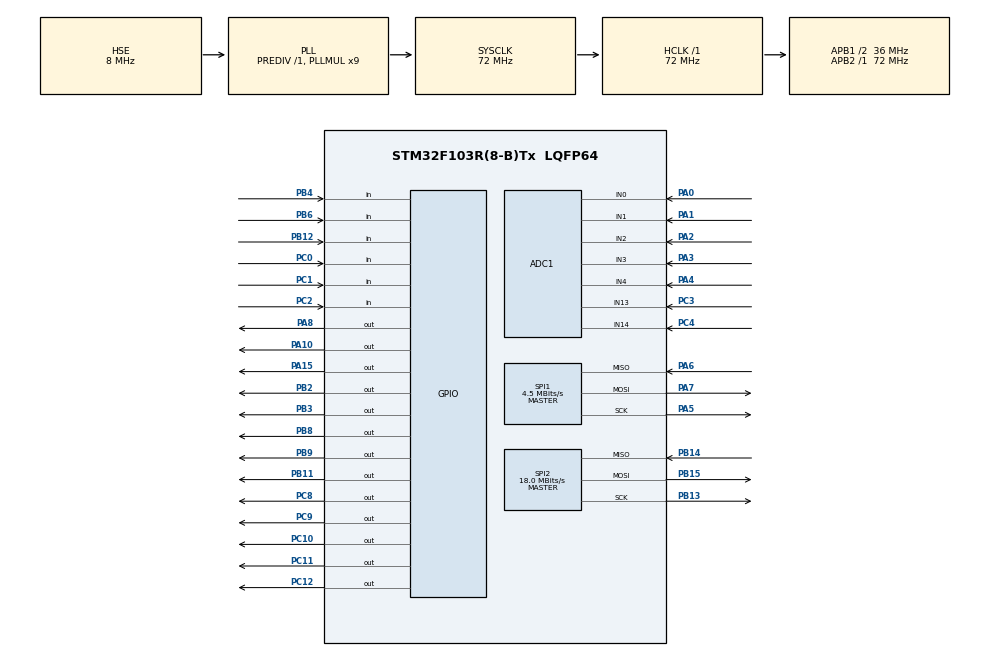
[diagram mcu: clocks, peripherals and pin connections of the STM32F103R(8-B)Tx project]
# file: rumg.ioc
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ADC1.ContinuousConvMode=DISABLE
ADC1.EnableRegularConversion=DISABLE
ADC1.master=1
FREERTOS.Queues01=myQueueTouch,16,uint16_t,0,Dynamic,NULL,NULL
FREERTOS.Tasks01=defaultTask,0,128,StartDefaultTask,Default,NULL,Dynamic,NULL,NULL;myTaskADC,-3,128,StartTaskADC,Default,NULL,Dynamic,NULL,NULL;myTaskLogic,-3,128,StartTaskLogic,Default,NULL,Dynamic,NULL,NULL;myTaskDisplay,-3,512,StartTaskDisplay,Default,NULL,Dynamic,NULL,NULL
FREERTOS.configTOTAL_HEAP_SIZE=6000
Mcu.Family=STM32F1
Mcu.Name=STM32F103R(8-B)Tx
Mcu.Package=LQFP64
NVIC.PriorityGroup=NVIC_PRIORITYGROUP_4
NVIC.TIM1_UP_IRQn=true\:0\:0\:false\:false\:true\:false\:false\:true
NVIC.TIM3_IRQn=true\:0\:0\:false\:false\:true\:false\:true\:true
NVIC.TimeBase=TIM1_UP_IRQn
NVIC.TimeBaseIP=TIM1
PA0-WKUP.Signal=SharedAnalog_PA0
PA1.Signal=SharedAnalog_PA1
PA10.GPIO_Speed=GPIO_SPEED_FREQ_HIGH
PA10.Signal=GPIO_Output
PA13.Mode=Serial_Wire
PA13.Signal=SYS_JTMS-SWDIO
PA14.Mode=Serial_Wire
PA14.Signal=SYS_JTCK-SWCLK
PA15.GPIO_Speed=GPIO_SPEED_FREQ_HIGH
PA15.Signal=GPIO_Output
PA2.Signal=SharedAnalog_PA2
PA3.Signal=SharedAnalog_PA3
PA4.Signal=SharedAnalog_PA4
PA5.Mode=Full_Duplex_Master
PA5.Signal=SPI1_SCK
PA6.Mode=Full_Duplex_Master
PA6.Signal=SPI1_MISO
PA7.Mode=Full_Duplex_Master
PA7.Signal=SPI1_MOSI
PA8.GPIO_Speed=GPIO_SPEED_FREQ_HIGH
PA8.Signal=GPIO_Output
PB11.GPIO_Speed=GPIO_SPEED_FREQ_HIGH
PB11.PinState=GPIO_PIN_SET
PB11.Signal=GPIO_Output
PB12.Signal=GPIO_Input
PB13.Mode=Full_Duplex_Master
PB13.Signal=SPI2_SCK
PB14.Mode=Full_Duplex_Master
PB14.Signal=SPI2_MISO
PB15.Mode=Full_Duplex_Master
PB15.Signal=SPI2_MOSI
PB2.GPIO_Speed=GPIO_SPEED_FREQ_HIGH
PB2.Signal=GPIO_Output
PB3.GPIO_Speed=GPIO_SPEED_FREQ_HIGH
PB3.Signal=GPIO_Output
PB4.Signal=GPIO_Input
PB6.Signal=GPIO_Input
PB8.GPIO_Speed=GPIO_SPEED_FREQ_HIGH
PB8.PinState=GPIO_PIN_SET
PB8.Signal=GPIO_Output
PB9.GPIO_Speed=GPIO_SPEED_FREQ_HIGH
PB9.Signal=GPIO_Output
PC0.Signal=GPIO_Input
PC1.Signal=GPIO_Input
PC10.GPIO_Speed=GPIO_SPEED_FREQ_HIGH
PC10.PinState=GPIO_PIN_RESET
PC10.Signal=GPIO_Output
PC11.Signal=GPIO_Output
PC12.Signal=GPIO_Output
PC2.Signal=GPIO_Input
PC3.Signal=SharedAnalog_PC3
PC4.Signal=SharedAnalog_PC4
PC8.GPIO_Speed=GPIO_SPEED_FREQ_HIGH
PC8.PinState=GPIO_PIN_RESET
PC8.Signal=GPIO_Output
PC9.GPIO_Speed=GPIO_SPEED_FREQ_HIGH
PC9.PinState=GPIO_PIN_RESET
PC9.Signal=GPIO_Output
PD0-OSC_IN.Mode=HSE-External-Oscillator
PD0-OSC_IN.Signal=RCC_OSC_IN
PD1-OSC_OUT.Mode=HSE-External-Oscillator
PD1-OSC_OUT.Signal=RCC_OSC_OUT
ProjectManager.HeapSize=0x200
ProjectManager.StackSize=0x400
ProjectManager.TargetToolchain=MDK-ARM V5.27
RCC.ADCPresc=RCC_ADCPCLK2_DIV6
RCC.AHBFreq_Value=72000000
RCC.APB1CLKDivider=RCC_HCLK_DIV2
RCC.APB1Freq_Value=36000000
RCC.APB1TimFreq_Value=72000000
RCC.APB2Freq_Value=72000000
RCC.APB2TimFreq_Value=72000000
RCC.HCLKFreq_Value=72000000
RCC.PLLMUL=RCC_PLL_MUL9
RCC.PLLSourceVirtual=RCC_PLLSOURCE_HSE
RCC.SYSCLKFreq_VALUE=72000000
RCC.SYSCLKSource=RCC_SYSCLKSOURCE_PLLCLK
RCC.USBFreq_Value=72000000
SH.SharedAnalog_PA0.0=GPIO_Analog
SH.SharedAnalog_PA0.1=ADC1_IN0,IN0
SH.SharedAnalog_PA1.0=GPIO_Analog
SH.SharedAnalog_PA1.1=ADC1_IN1,IN1
SH.SharedAnalog_PA2.0=GPIO_Analog
SH.SharedAnalog_PA2.1=ADC1_IN2,IN2
SH.SharedAnalog_PA3.0=GPIO_Analog
SH.SharedAnalog_PA3.1=ADC1_IN3,IN3
SH.SharedAnalog_PA4.0=GPIO_Analog
SH.SharedAnalog_PA4.1=ADC1_IN4,IN4
SH.SharedAnalog_PC3.0=GPIO_Analog
SH.SharedAnalog_PC3.1=ADC1_IN13,IN13
SH.SharedAnalog_PC4.0=GPIO_Analog
SH.SharedAnalog_PC4.1=ADC1_IN14,IN14
SPI1.BaudRatePrescaler=SPI_BAUDRATEPRESCALER_16
SPI1.CLKPhase=SPI_PHASE_1EDGE
SPI1.CLKPolarity=SPI_POLARITY_LOW
SPI1.CalculateBaudRate=4.5 MBits/s
SPI1.Direction=SPI_DIRECTION_2LINES
SPI1.Mode=SPI_MODE_MASTER
SPI1.VirtualType=VM_MASTER
SPI2.BaudRatePrescaler=SPI_BAUDRATEPRESCALER_2
SPI2.CLKPhase=SPI_PHASE_1EDGE
SPI2.CLKPolarity=SPI_POLARITY_LOW
SPI2.CalculateBaudRate=18.0 MBits/s
SPI2.Direction=SPI_DIRECTION_2LINES
SPI2.Mode=SPI_MODE_MASTER
SPI2.VirtualType=VM_MASTER
TIM3.AutoReloadPreload=TIM_AUTORELOAD_PRELOAD_ENABLE
TIM3.CounterMode=TIM_COUNTERMODE_DOWN
TIM3.Period=499
TIM3.Prescaler=15
VP_FREERTOS_VS_CMSIS_V1.Mode=CMSIS_V1
VP_SYS_VS_tim1.Mode=TIM1
VP_TIM3_VS_ClockSourceINT.Mode=Internal
board=custom

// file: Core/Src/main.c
/* USER CODE BEGIN Header */
/**
  ******************************************************************************
  * @file           : main.c
  * @brief          : Main program body
  ******************************************************************************
  * @attention
  *
  * <h2><center>&copy; Copyright (c) 2020 STMicroelectronics.
  * All rights reserved.</center></h2>
  *
  * This software component is licensed by ST under Ultimate Liberty license
  * SLA0044, the "License"; You may not use this file except in compliance with
  * the License. You may obtain a copy of the License at:
  *                             www.st.com/SLA0044
  *
  ******************************************************************************
  */
/* USER CODE END Header */
#include "main.h"
#include "cmsis_os.h"
#include <math.h>

ADC_HandleTypeDef hadc1;

SPI_HandleTypeDef hspi1;
SPI_HandleTypeDef hspi2;

TIM_HandleTypeDef htim3;

osThreadId defaultTaskHandle;
osThreadId myTaskADCHandle;
osThreadId myTaskLogicHandle;
osThreadId myTaskDisplayHandle;
osMessageQId myQueueTouchHandle;
/* USER CODE BEGIN PV */
osThreadId myTaskLoRaHandle;
osThreadId myTaskTCPIPHandle;
QueueHandle_t myQueueADCHandle;
QueueHandle_t myQueueLORAHandle;

uint32_t UserTimer;
uint8_t UserTimerFlag;
uint8_t OneSeconTick;
uint32_t EpochTime = EPOCH_TIME;

uint16_t rus_font_color = 0x0000;

uint8_t buzz_on;

uint8_t just_on_flag = 1;

SX1278_hw_t SX1278_hw;
SX1278_t SX1278;

TypeVolt PhValues_input;
TypeVolt PhValues_output;

extern struct TouchStructType T_struct;
extern TypeParameters DeviceParam;
extern ADC_ChannelConfTypeDef ADC_CONF;
extern int16_t FlowArray[F_ARR_SIZE];
extern uint16_t flow_prediction_arr[FLOW_30AVG];
extern uint8_t UI_item;
extern uint8_t redraw_all;

uint8_t SwitchGasRequest = 0;
uint8_t ManIsHere = 0;
uint8_t ActiveGasRequested = LEFT;

/* USER CODE END PV */

void SystemClock_Config(void);
static void MX_GPIO_Init(void);
static void MX_SPI1_Init(void);
static void MX_TIM3_Init(void);
static void MX_ADC1_Init(void);
static void MX_SPI2_Init(void);
void StartDefaultTask(void const * argument);
void StartTaskADC(void const * argument);
void StartTaskLogic(void const * argument);
void StartTaskDisplay(void const * argument);

/* USER CODE BEGIN PFP */
void StartTaskLoRa(void const * argument);
void StartTaskTCPIP(void const * argument);
void mainApp(void);
/* USER CODE END PFP */

int main(void)
{

  /* MCU Configuration--------------------------------------------------------*/

  /* Reset of all peripherals, Initializes the Flash interface and the Systick. */
  HAL_Init();

  /* Configure the system clock */
  SystemClock_Config();

  /* Initialize all configured peripherals */
  MX_GPIO_Init();
  MX_SPI1_Init();
  MX_TIM3_Init();
  MX_ADC1_Init();
  MX_SPI2_Init();
  /* USER CODE BEGIN 2 */
	__HAL_SPI_ENABLE(&hspi1);
	__HAL_SPI_ENABLE(&hspi2);

	HAL_TIM_Base_Start_IT(&htim3);
	HAL_ADC_Start (&hadc1);

	InitParam(&DeviceParam);

	ADC_CONF.Channel = ADC_Left_Press;
	ADC_CONF.Rank = ADC_REGULAR_RANK_1;
	ADC_CONF.SamplingTime = ADC_SAMPLETIME_13CYCLES_5;

	//Flow array zeroing
	for(uint16_t i = 0; i < F_ARR_SIZE; i++){
			FlowArray[i] = 0;
	}
	for(uint16_t i = 0; i < FLOW_30AVG; i++){
			flow_prediction_arr[i] = 0;
	}

	//FLASH TEST
	/*HAL_FLASH_Unlock();
	HAL_FLASH_Program(FLASH_TYPEPROGRAM_DOUBLEWORD, 0x0801FC00, 0x0123456789ABCDEF);
	HAL_FLASH_Lock();*/

	if(DeviceParam.CommDevice == LORA){
		//initialize LoRa module
		SX1278_hw.dio0.port = DIO0_GPIO_Port;
		SX1278_hw.dio0.pin = DIO0_Pin;
		SX1278_hw.nss.port = NSS_GPIO_Port;
		SX1278_hw.nss.pin = NSS_Pin;
		SX1278_hw.reset.port = RESET_GPIO_Port;
		SX1278_hw.reset.pin = RESET_Pin;
		SX1278_hw.spi = &hspi1;

		SX1278.hw = &SX1278_hw;

		SX1278_init(&SX1278, DeviceParam.LR_FREQ, SX1278_POWER_17DBM, SX1278_LORA_SF_12,	SX1278_LORA_BW_125KHZ, SX1278_LORA_CR_4_5, SX1278_LORA_CRC_EN, 10);

		if(DeviceParam.Role == CONTROLER){
			SX1278_LoRaEntryTx(&SX1278, MESS_LEN, LoRa_TIMEOUT);
		}else
		if(DeviceParam.Role == REPEATER){
			SX1278_LoRaEntryRx(&SX1278, MESS_LEN, LoRa_TIMEOUT);
		}
	}

  /* USER CODE END 2 */

  /* Create the queue(s) */
  /* definition and creation of myQueueTouch */
  osMessageQDef(myQueueTouch, 16, uint16_t);
  myQueueTouchHandle = osMessageCreate(osMessageQ(myQueueTouch), NULL);

  /* USER CODE BEGIN RTOS_QUEUES */
  /* add queues, ... */
	myQueueADCHandle = xQueueCreate(1, sizeof(TypeVolt));
	myQueueLORAHandle = xQueueCreate(1, MESS_LEN);
  /* USER CODE END RTOS_QUEUES */

  /* Create the thread(s) */
  /* definition and creation of defaultTask */
  osThreadDef(defaultTask, StartDefaultTask, osPriorityNormal, 0, 128);
  defaultTaskHandle = osThreadCreate(osThread(defaultTask), NULL);

  /* definition and creation of myTaskADC */
  osThreadDef(myTaskADC, StartTaskADC, osPriorityIdle, 0, 128);
  myTaskADCHandle = osThreadCreate(osThread(myTaskADC), NULL);

  /* definition and creation of myTaskLogic */
  osThreadDef(myTaskLogic, StartTaskLogic, osPriorityIdle, 0, 128);
  myTaskLogicHandle = osThreadCreate(osThread(myTaskLogic), NULL);

  /* definition and creation of myTaskDisplay */
  osThreadDef(myTaskDisplay, StartTaskDisplay, osPriorityIdle, 0, 512);
  myTaskDisplayHandle = osThreadCreate(osThread(myTaskDisplay), NULL);

  /* USER CODE BEGIN RTOS_THREADS */

  /* definition and creation of myTaskLoRa */
	if(COMM_DEV == LORA){
		osThreadDef(myTaskLoRa, StartTaskLoRa, osPriorityIdle, 0, 128);
		myTaskLoRaHandle = osThreadCreate(osThread(myTaskLoRa), NULL);
	}

	if(COMM_DEV == ETHERNET){
		osThreadDef(myTaskTCPIP, StartTaskTCPIP, osPriorityIdle, 0, 256);
		myTaskTCPIPHandle = osThreadCreate(osThread(myTaskTCPIP), NULL);
	}

  /* USER CODE END RTOS_THREADS */

  /* Start scheduler */
  osKernelStart();

  /* We should never get here as control is now taken by the scheduler */
  /* Infinite loop */
  while (1)
  {

  }
}

void SystemClock_Config(void)
{
  RCC_OscInitTypeDef RCC_OscInitStruct = {0};
  RCC_ClkInitTypeDef RCC_ClkInitStruct = {0};
  RCC_PeriphCLKInitTypeDef PeriphClkInit = {0};

  /** Initializes the RCC Oscillators according to the specified parameters
  * in the RCC_OscInitTypeDef structure.
  */
  RCC_OscInitStruct.OscillatorType = RCC_OSCILLATORTYPE_HSE;
  RCC_OscInitStruct.HSEState = RCC_HSE_ON;
  RCC_OscInitStruct.HSEPredivValue = RCC_HSE_PREDIV_DIV1;
  RCC_OscInitStruct.HSIState = RCC_HSI_ON;
  RCC_OscInitStruct.PLL.PLLState = RCC_PLL_ON;
  RCC_OscInitStruct.PLL.PLLSource = RCC_PLLSOURCE_HSE;
  RCC_OscInitStruct.PLL.PLLMUL = RCC_PLL_MUL9;
  if (HAL_RCC_OscConfig(&RCC_OscInitStruct) != HAL_OK)
  {
    Error_Handler();
  }
  /** Initializes the CPU, AHB and APB buses clocks
  */
  RCC_ClkInitStruct.ClockType = RCC_CLOCKTYPE_HCLK|RCC_CLOCKTYPE_SYSCLK
                              |RCC_CLOCKTYPE_PCLK1|RCC_CLOCKTYPE_PCLK2;
  RCC_ClkInitStruct.SYSCLKSource = RCC_SYSCLKSOURCE_PLLCLK;
  RCC_ClkInitStruct.AHBCLKDivider = RCC_SYSCLK_DIV1;
  RCC_ClkInitStruct.APB1CLKDivider = RCC_HCLK_DIV2;
  RCC_ClkInitStruct.APB2CLKDivider = RCC_HCLK_DIV1;

  if (HAL_RCC_ClockConfig(&RCC_ClkInitStruct, FLASH_LATENCY_2) != HAL_OK)
  {
    Error_Handler();
  }
  PeriphClkInit.PeriphClockSelection = RCC_PERIPHCLK_ADC;
  PeriphClkInit.AdcClockSelection = RCC_ADCPCLK2_DIV6;
  if (HAL_RCCEx_PeriphCLKConfig(&PeriphClkInit) != HAL_OK)
  {
    Error_Handler();
  }
}

static void MX_ADC1_Init(void)
{

  /** Common config
  */
  hadc1.Instance = ADC1;
  hadc1.Init.ScanConvMode = ADC_SCAN_DISABLE;
  hadc1.Init.ContinuousConvMode = DISABLE;
  hadc1.Init.DiscontinuousConvMode = DISABLE;
  hadc1.Init.ExternalTrigConv = ADC_SOFTWARE_START;
  hadc1.Init.DataAlign = ADC_DATAALIGN_RIGHT;
  hadc1.Init.NbrOfConversion = 1;
  if (HAL_ADC_Init(&hadc1) != HAL_OK)
  {
    Error_Handler();
  }

}

static void MX_SPI1_Init(void)
{

  /* SPI1 parameter configuration*/
  hspi1.Instance = SPI1;
  hspi1.Init.Mode = SPI_MODE_MASTER;
  hspi1.Init.Direction = SPI_DIRECTION_2LINES;
  hspi1.Init.DataSize = SPI_DATASIZE_8BIT;
  hspi1.Init.CLKPolarity = SPI_POLARITY_LOW;
  hspi1.Init.CLKPhase = SPI_PHASE_1EDGE;
  hspi1.Init.NSS = SPI_NSS_SOFT;
  hspi1.Init.BaudRatePrescaler = SPI_BAUDRATEPRESCALER_16;
  hspi1.Init.FirstBit = SPI_FIRSTBIT_MSB;
  hspi1.Init.TIMode = SPI_TIMODE_DISABLE;
  hspi1.Init.CRCCalculation = SPI_CRCCALCULATION_DISABLE;
  hspi1.Init.CRCPolynomial = 10;
  if (HAL_SPI_Init(&hspi1) != HAL_OK)
  {
    Error_Handler();
  }

}

static void MX_SPI2_Init(void)
{

  /* SPI2 parameter configuration*/
  hspi2.Instance = SPI2;
  hspi2.Init.Mode = SPI_MODE_MASTER;
  hspi2.Init.Direction = SPI_DIRECTION_2LINES;
  hspi2.Init.DataSize = SPI_DATASIZE_8BIT;
  hspi2.Init.CLKPolarity = SPI_POLARITY_LOW;
  hspi2.Init.CLKPhase = SPI_PHASE_1EDGE;
  hspi2.Init.NSS = SPI_NSS_SOFT;
  hspi2.Init.BaudRatePrescaler = SPI_BAUDRATEPRESCALER_2;
  hspi2.Init.FirstBit = SPI_FIRSTBIT_MSB;
  hspi2.Init.TIMode = SPI_TIMODE_DISABLE;
  hspi2.Init.CRCCalculation = SPI_CRCCALCULATION_DISABLE;
  hspi2.Init.CRCPolynomial = 10;
  if (HAL_SPI_Init(&hspi2) != HAL_OK)
  {
    Error_Handler();
  }

}

static void MX_TIM3_Init(void)
{

  TIM_ClockConfigTypeDef sClockSourceConfig = {0};
  TIM_MasterConfigTypeDef sMasterConfig = {0};

  htim3.Instance = TIM3;
  htim3.Init.Prescaler = 15;
  htim3.Init.CounterMode = TIM_COUNTERMODE_DOWN;
  htim3.Init.Period = 499;
  htim3.Init.ClockDivision = TIM_CLOCKDIVISION_DIV1;
  htim3.Init.AutoReloadPreload = TIM_AUTORELOAD_PRELOAD_ENABLE;
  if (HAL_TIM_Base_Init(&htim3) != HAL_OK)
  {
    Error_Handler();
  }
  sClockSourceConfig.ClockSource = TIM_CLOCKSOURCE_INTERNAL;
  if (HAL_TIM_ConfigClockSource(&htim3, &sClockSourceConfig) != HAL_OK)
  {
    Error_Handler();
  }
  sMasterConfig.MasterOutputTrigger = TIM_TRGO_RESET;
  sMasterConfig.MasterSlaveMode = TIM_MASTERSLAVEMODE_DISABLE;
  if (HAL_TIMEx_MasterConfigSynchronization(&htim3, &sMasterConfig) != HAL_OK)
  {
    Error_Handler();
  }

}

static void MX_GPIO_Init(void)
{
  GPIO_InitTypeDef GPIO_InitStruct = {0};

  /* GPIO Ports Clock Enable */
  __HAL_RCC_GPIOD_CLK_ENABLE();
  __HAL_RCC_GPIOC_CLK_ENABLE();
  __HAL_RCC_GPIOA_CLK_ENABLE();
  __HAL_RCC_GPIOB_CLK_ENABLE();

  /*Configure GPIO pin Output Level */
  HAL_GPIO_WritePin(GPIOB, GPIO_PIN_2|GPIO_PIN_3|GPIO_PIN_9, GPIO_PIN_RESET);

  /*Configure GPIO pin Output Level */
  HAL_GPIO_WritePin(GPIOB, GPIO_PIN_11|GPIO_PIN_8, GPIO_PIN_SET);

  /*Configure GPIO pin Output Level */
  HAL_GPIO_WritePin(GPIOC, GPIO_PIN_8|GPIO_PIN_9|GPIO_PIN_10|GPIO_PIN_11
                          |GPIO_PIN_12, GPIO_PIN_RESET);

  /*Configure GPIO pin Output Level */
  HAL_GPIO_WritePin(GPIOA, GPIO_PIN_8|GPIO_PIN_10|GPIO_PIN_15, GPIO_PIN_RESET);

  /*Configure GPIO pins : PC0 PC1 PC2 */
  GPIO_InitStruct.Pin = GPIO_PIN_0|GPIO_PIN_1|GPIO_PIN_2;
  GPIO_InitStruct.Mode = GPIO_MODE_INPUT;
  GPIO_InitStruct.Pull = GPIO_NOPULL;
  HAL_GPIO_Init(GPIOC, &GPIO_InitStruct);

  /*Configure GPIO pins : PB2 PB11 PB3 PB8
                           PB9 */
  GPIO_InitStruct.Pin = GPIO_PIN_2|GPIO_PIN_11|GPIO_PIN_3|GPIO_PIN_8
                          |GPIO_PIN_9;
  GPIO_InitStruct.Mode = GPIO_MODE_OUTPUT_PP;
  GPIO_InitStruct.Pull = GPIO_NOPULL;
  GPIO_InitStruct.Speed = GPIO_SPEED_FREQ_HIGH;
  HAL_GPIO_Init(GPIOB, &GPIO_InitStruct);

  /*Configure GPIO pins : PB12 PB4 PB6 */
  GPIO_InitStruct.Pin = GPIO_PIN_12|GPIO_PIN_4|GPIO_PIN_6;
  GPIO_InitStruct.Mode = GPIO_MODE_INPUT;
  GPIO_InitStruct.Pull = GPIO_NOPULL;
  HAL_GPIO_Init(GPIOB, &GPIO_InitStruct);

  /*Configure GPIO pins : PC8 PC9 PC10 */
  GPIO_InitStruct.Pin = GPIO_PIN_8|GPIO_PIN_9|GPIO_PIN_10;
  GPIO_InitStruct.Mode = GPIO_MODE_OUTPUT_PP;
  GPIO_InitStruct.Pull = GPIO_NOPULL;
  GPIO_InitStruct.Speed = GPIO_SPEED_FREQ_HIGH;
  HAL_GPIO_Init(GPIOC, &GPIO_InitStruct);

  /*Configure GPIO pins : PA8 PA10 PA15 */
  GPIO_InitStruct.Pin = GPIO_PIN_8|GPIO_PIN_10|GPIO_PIN_15;
  GPIO_InitStruct.Mode = GPIO_MODE_OUTPUT_PP;
  GPIO_InitStruct.Pull = GPIO_NOPULL;
  GPIO_InitStruct.Speed = GPIO_SPEED_FREQ_HIGH;
  HAL_GPIO_Init(GPIOA, &GPIO_InitStruct);

  /*Configure GPIO pins : PC11 PC12 */
  GPIO_InitStruct.Pin = GPIO_PIN_11|GPIO_PIN_12;
  GPIO_InitStruct.Mode = GPIO_MODE_OUTPUT_PP;
  GPIO_InitStruct.Pull = GPIO_NOPULL;
  GPIO_InitStruct.Speed = GPIO_SPEED_FREQ_LOW;
  HAL_GPIO_Init(GPIOC, &GPIO_InitStruct);

}

/* USER CODE BEGIN 4 */
void StartTaskLoRa(void const * argument)
{
  /* Infinite loop */
  for(;;)
  {
		if(DeviceParam.CommDevice == LORA) process_lora();
		osDelay(1);
  }
}

void StartTaskTCPIP(void const * argument)
{
  /* Infinite loop */
  for(;;)
  {
		if(DeviceParam.CommDevice == ETHERNET) TCP_IP();
		osDelay(1);
  }
}

/* USER CODE END 4 */

void StartDefaultTask(void const * argument)
{
  for(;;)
  {
    osDelay(1);
  }
}

void StartTaskADC(void const * argument)
{
  /* USER CODE BEGIN StartTaskADC */
  /* Infinite loop */
  for(;;)
  {
    //osDelay(1);
		//if(FAKE_SENSORS) fake_volt(&PhValues_input);	else measure_volt(&PhValues_input);
	 measure_volt(&PhValues_input);
		if(DeviceParam.Role == CONTROLER){
			if(PhValues_input.new_data){
				if(xQueueSend(myQueueADCHandle, &PhValues_input, 10) != pdTRUE){
					while(1){}
				}
				PhValues_input.new_data = 0;
			}
		}
  }
  /* USER CODE END StartTaskADC */
}

void StartTaskLogic(void const * argument)
{
  /* USER CODE BEGIN StartTaskLogic */
	//static uint16_t var = 0;
	for(uint16_t i = 0; i < SETTLE_TIMER; i ++){
			if(xQueueReceive(myQueueADCHandle, &PhValues_output, 10) == pdTRUE){}
			osDelay(1);
	}
	LOG_LogInit();
	redraw_all = 1;
  /* Infinite loop */
  for(;;)
  {
    //osDelay(1);
		if(xQueueReceive(myQueueADCHandle, &PhValues_output, 10) == pdTRUE){}
		make_action(&PhValues_output);

			//var++;
			//if(var < 10) HAL_GPIO_WritePin(PORT_RIGHT_VLV, RIGHT_VLV, GPIO_PIN_SET); else HAL_GPIO_WritePin(PORT_RIGHT_VLV, RIGHT_VLV, GPIO_PIN_RESET);
			//if(var > 20) var = 0;

  }
  /* USER CODE END StartTaskLogic */
}

void StartTaskDisplay(void const * argument)
{
  /* USER CODE BEGIN StartTaskDisplay */
	InitGUI();
  /* Infinite loop */
  for(;;)
  {
		//GUI();
		UI_logic();
		//if((UI_item == MAIN_WIND) && ((EpochTime % DISPLAY_RESET_T) == 0)) InitGUI();
    //osDelay(1);
  }
  /* USER CODE END StartTaskDisplay */
}

void HAL_TIM_PeriodElapsedCallback(TIM_HandleTypeDef *htim)
{
  if (htim->Instance == TIM1) {
    HAL_IncTick();
  }
}

void Error_Handler(void)
{
}

/************************ (C) COPYRIGHT STMicroelectronics *****END OF FILE****/
